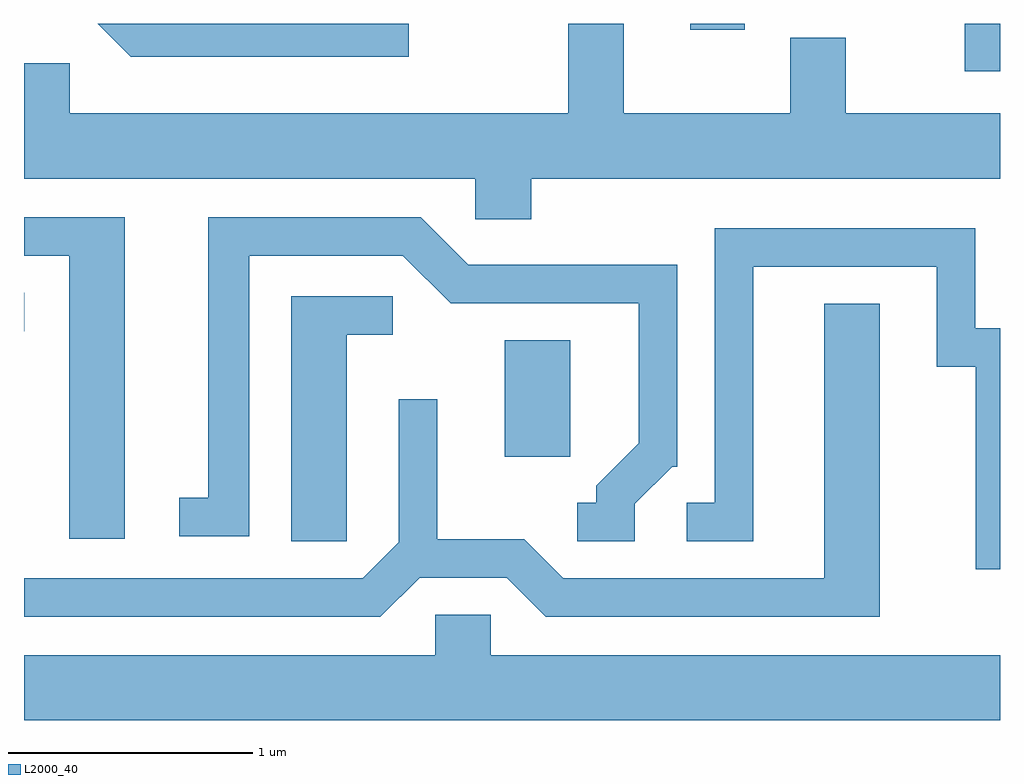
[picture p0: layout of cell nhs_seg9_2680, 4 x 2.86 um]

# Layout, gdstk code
import gdstk
lib = gdstk.Library(unit=1e-6, precision=1e-09)
def R(c, l, rs):  # rectangles x0, y0, x1, y1
    for r in rs: c.add(gdstk.rectangle(r[:2], r[2:], *l))
def P(c, l, *ps):  # polygons
    for p in ps: c.add(gdstk.Polygon(p, *l))
L2000_40 = (2000, 40)

nhs_seg9_2680 = lib.new_cell('nhs_seg9_2680')
R(nhs_seg9_2680, L2000_40, [(265.581,2010.656,265.849,2011.134), (263.611,2011.171,263.613,2011.329), (267.466,2012.236,267.611,2012.432), (266.341,2012.406,266.564,2012.432)])
P(nhs_seg9_2680, L2000_40, [(265.689,2011.796),(267.611,2011.796),(267.611,2012.064),(266.979,2012.064),(266.979,2012.374),(266.751,2012.374),(266.751,2012.064),(266.069,2012.064),(266.069,2012.432),(265.841,2012.432),(265.841,2012.064),(263.799,2012.064),(263.799,2012.269),(263.611,2012.269),(263.611,2011.796),(265.461,2011.796),(265.461,2011.631),(265.689,2011.631)],
  [(265.188,2012.432),(263.913,2012.432),(264.049,2012.296),(265.188,2012.296)],
  [(264.024,2011.639),(263.611,2011.639),(263.611,2011.481),(263.796,2011.481),(263.796,2010.321),(264.024,2010.321)],
  [(266.114,2010.464),(266.267,2010.616),(266.289,2010.616),(266.289,2011.444),(265.432,2011.444),(265.237,2011.639),(264.366,2011.639),(264.366,2010.489),(264.248,2010.489),(264.248,2010.331),(264.534,2010.331),(264.534,2011.481),(265.164,2011.481),(265.359,2011.286),(266.131,2011.286),(266.131,2010.712),(265.956,2010.537),(265.956,2010.469),(265.878,2010.469),(265.878,2010.311),(266.114,2010.311)],
  [(267.611,2011.184),(267.509,2011.184),(267.509,2011.594),(266.441,2011.594),(266.441,2010.469),(266.328,2010.469),(266.328,2010.311),(266.599,2010.311),(266.599,2011.436),(267.351,2011.436),(267.351,2011.026),(267.511,2011.026),(267.511,2010.196),(267.611,2010.196)],
  [(264.934,2011.156),(265.123,2011.156),(265.123,2011.314),(264.706,2011.314),(264.706,2010.311),(264.934,2010.311)],
  [(265.232,2010.161),(265.589,2010.161),(265.749,2010.001),(267.119,2010.001),(267.119,2011.284),(266.891,2011.284),(266.891,2010.159),(265.822,2010.159),(265.662,2010.319),(265.304,2010.319),(265.304,2010.893),(265.146,2010.893),(265.146,2010.307),(264.999,2010.159),(263.611,2010.159),(263.611,2010.001),(265.072,2010.001)],
  [(267.611,2009.844),(265.524,2009.844),(265.524,2010.009),(265.296,2010.009),(265.296,2009.844),(263.611,2009.844),(263.611,2009.576),(267.611,2009.576)])

lib.write_gds('nhs_seg9_2680.gds')
